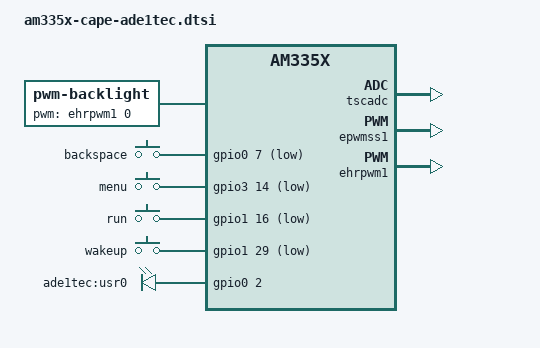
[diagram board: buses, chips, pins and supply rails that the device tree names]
/*
 * Copyright (C) 2012 Texas Instruments Incorporated - http://www.ti.com/
 *
 * This program is free software; you can redistribute it and/or modify
 * it under the terms of the GNU General Public License version 2 as
 * published by the Free Software Foundation.
 */

#include <dt-bindings/board/am335x-bbw-bbb-base.h>

#include "am335x-peripheral-can1.dtsi"
#include "am335x-bone-pinmux-can1.dtsi"

#include "am335x-peripheral-i2c2-ade1tec.dtsi"
#include "am335x-bone-pinmux-i2c2-ade1tec.dtsi"

#include "am335x-peripheral-ttyS4-485.dtsi"
#include "am335x-bone-pinmux-ttyS4-485.dtsi"

&am33xx_pinmux {
	user_leds_s1: user_leds_s1 {
		pinctrl-single,pins = <
			BONE_P9_22 (PIN_OUTPUT | MUX_MODE7) /* spi0_sclk.gpio0_2 */
		>;
	};

	bb_lcd_pwm_backlight_pins: pinmux_bb_lcd_pwm_backlight_pins {
		pinctrl-single,pins = <
			BONE_P9_14 (PIN_OUTPUT_PULLDOWN | MUX_MODE6) /* gpmc_a2.ehrpwm1a */
		>;
	};

	keymap3_pins: pinmux_keymap3_pins {
		pinctrl-single,pins = <
			BONE_P9_18 (PIN_INPUT_PULLDOWN | MUX_MODE7)
			BONE_P9_31 (PIN_INPUT_PULLDOWN | MUX_MODE7)
			BONE_P9_25 (PIN_INPUT_PULLDOWN | MUX_MODE7)
			BONE_P8_26 (PIN_INPUT_PULLDOWN | MUX_MODE7)
		>;
	};
};

&tscadc {
	status = "okay";
	adc {
		ti,adc-channels = <0 1 2 3 4 5 6>;
		ti,chan-step-avg = <0x16 0x16 0x16 0x16 0x16 0x16 0x16>;
		ti,chan-step-opendelay = <0x98 0x98 0x98 0x98 0x98 0x98 0x98>;
		ti,chan-step-sampledelay = <0x0 0x0 0x0 0x0 0x0 0x0 0x0>;
	};
};

&epwmss1 {
	status = "okay";
};


&ehrpwm1 {
	pinctrl-names = "default";
	pinctrl-0 = <&bb_lcd_pwm_backlight_pins>;
	status = "okay";
};

/ {
	backlight {
		status = "okay";
		compatible = "pwm-backlight";
		pwms = <&ehrpwm1 0 50000 0>;
		brightness-levels = <255 152 101 75 62 62 56 53 51 0>;
		default-brightness-level = <10>;
	};

	gpio_keys {
		compatible = "gpio-keys";
		pinctrl-names = "default";
		pinctrl-0 = <&keymap3_pins>;

		#address-cells = <1>;
		#size-cells = <0>;

		button@1 {
			debounce_interval = <50>;
			linux,code = <14>;
			label = "backspace";
			gpios = <&gpio0 7 0x1>;
			gpio-key,wakeup;
			autorepeat;
		};
		button@2 {
			debounce_interval = <50>;
			linux,code = <69>;
			label = "menu";
			gpios = <&gpio3 14 0x1>;
			gpio-key,wakeup;
			autorepeat;
		};
		button@3 {
			debounce_interval = <50>;
			linux,code = <28>;
			label = "run";
			gpios = <&gpio1 16 0x1>;
			gpio-key,wakeup;
			autorepeat;
		};
		button@4 {
			debounce_interval = <50>;
			linux,code = <143>;
			label = "wakeup";
			gpios = <&gpio1 29 0x1>;
			gpio-key,wakeup;
			autorepeat;
		};
	};

	gpio-leds-cape-lcd {
		compatible = "gpio-leds";
		pinctrl-names = "default";

		pinctrl-0 = <&user_leds_s1>;

		lcd-led0 {
			label = "ade1tec:usr0";
			gpios = <&gpio0 2 0>;
			linux,default-trigger = "heartbeat";
			default-state = "off";
		};
	};
};

#include "am335x-peripheral-panel-800x480-24bit-ade1tec.dtsi"
#include "am335x-bone-pinmux-panel-800x480-24bit-ade1tec.dtsi"
